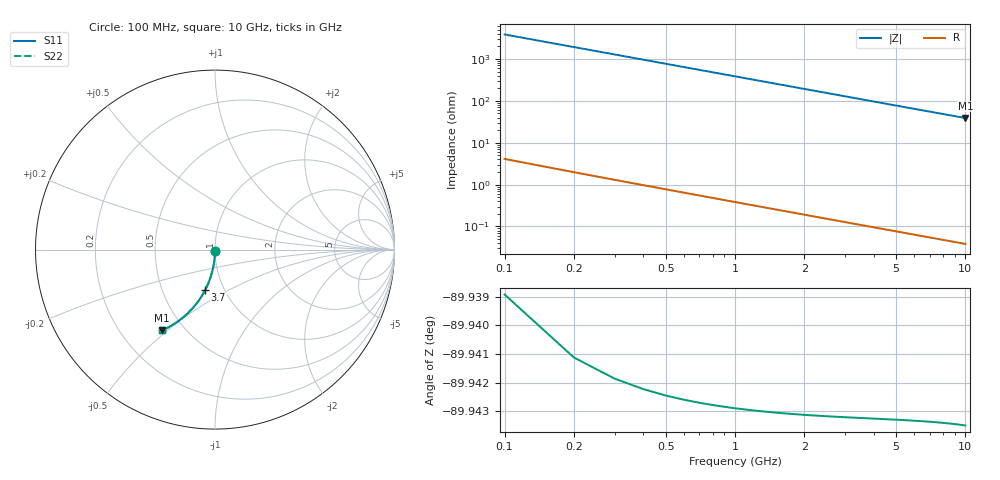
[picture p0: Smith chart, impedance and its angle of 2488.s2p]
# Hz S RI R 50.00
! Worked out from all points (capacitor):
!   100 points, 100 MHz to 10 GHz, reference 50 ohm
!   read as one part in shunt: C = 413 fF near 100 MHz
!   lowest |Z| = 38.9 ohm at 10 GHz (marker M1)
!   S11 on the Smith chart (normalised r, x): 100 MHz: 1.00, -0.01; 3.7 GHz: 0.81, -0.39; 10 GHz: 0.38, -0.48
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1e8  -3.81e-05 -0.00643  0.9999 -0.00654  0.9999 -0.00654  -3.81e-05 -0.00643
2e8  -0.000171 -0.0129  0.9998 -0.0131  0.9998 -0.0131  -0.000171 -0.0129
3e8  -0.000387 -0.0193  0.9996 -0.0196  0.9996 -0.0196  -0.000387 -0.0193
4e8  -0.000688 -0.0257  0.9993 -0.0262  0.9993 -0.0262  -0.000688 -0.0257
5e8  -0.00107 -0.0321  0.9989 -0.0327  0.9989 -0.0327  -0.00107 -0.0321
6e8  -0.00154 -0.0385  0.9984 -0.0392  0.9984 -0.0392  -0.00154 -0.0385
7e8  -0.00209 -0.0449  0.9979 -0.0457  0.9979 -0.0457  -0.00209 -0.0449
8e8  -0.00273 -0.0513  0.9973 -0.0522  0.9973 -0.0522  -0.00273 -0.0513
9e8  -0.00344 -0.0577  0.9965 -0.0587  0.9965 -0.0587  -0.00344 -0.0577
1.1e9  -0.00512 -0.0704  0.9949 -0.0716  0.9949 -0.0716  -0.00512 -0.0704
1.4e9  -0.00825 -0.0893  0.9917 -0.0908  0.9917 -0.0908  -0.00825 -0.0893
1.8e9  -0.0135 -0.1141  0.9864 -0.1161  0.9864 -0.1161  -0.0135 -0.1141
2.1e9  -0.0183 -0.1325  0.9817 -0.1348  0.9817 -0.1348  -0.0183 -0.1325
2.5e9  -0.0257 -0.1565  0.9743 -0.1592  0.9743 -0.1592  -0.0257 -0.1565
2.9e9  -0.0343 -0.1799  0.9657 -0.183  0.9657 -0.183  -0.0343 -0.1799
3.4e9  -0.0464 -0.2081  0.9535 -0.2118  0.9535 -0.2118  -0.0464 -0.2081
3.7e9  -0.0545 -0.2245  0.9455 -0.2286  0.9455 -0.2286  -0.0545 -0.2245
4.4e9  -0.0752 -0.2609  0.9247 -0.2658  0.9247 -0.2658  -0.0752 -0.2609
5.1e9  -0.0984 -0.2946  0.9015 -0.3002  0.9015 -0.3002  -0.0984 -0.2946
6.7e9  -0.1582 -0.3607  0.8418 -0.3682  0.8418 -0.3682  -0.1582 -0.3607
8.4e9  -0.2275 -0.414  0.7724 -0.4235  0.7724 -0.4235  -0.2275 -0.414
1e10  -0.2941 -0.4495  0.7058 -0.4608  0.7058 -0.4608  -0.2941 -0.4495
